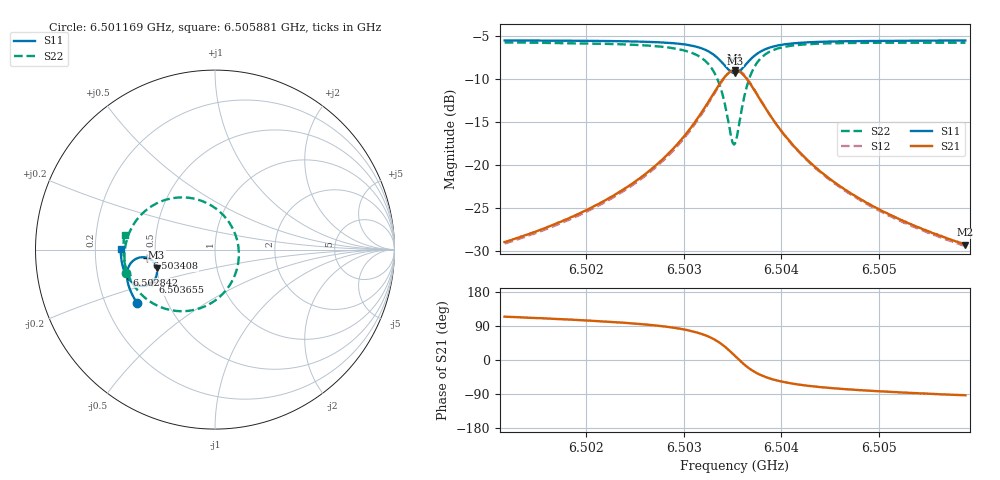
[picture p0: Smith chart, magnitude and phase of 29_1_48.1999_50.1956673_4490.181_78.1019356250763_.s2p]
#  HZ  S  RI  R  50.00
! Rohde & Schwarz Vector Network Analyzer
! Rohde-Schwarz,ZNB20-2Port,1311601062101988,3.16
! Created: UTC 3/20/2024, 11:37:16 AM
! freq[Hz]  re:S11  im:S11  re:S21  im:S21  re:S12  im:S12  re:S22  im:S22
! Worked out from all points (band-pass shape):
!   401 points, 6.501169 GHz to 6.505881 GHz, reference 50 ohm
!   highest |S21| = -9.01 dB at 6.503525 GHz (marker M1); lowest = -29.2 dB at 6.505881 GHz (marker M2)
!   |S21| within 3 dB of the highest: 6.50329 GHz to 6.50376 GHz (470.7 kHz wide, 0.00724 % of centre)
!   lowest |S11| = -9.4 dB at 6.503525 GHz (marker M3), VSWR 2.03, Z = 25 - j5.66 ohm
!   |S11| at or under -10 dB: nowhere
!   |S22| runs from -17.6 to -5.8 dB; largest |S21 - S12| = 0.012
!   S11 on the Smith chart (normalised r, x): 6.501169 GHz: 0.34, -0.27; 6.502842 GHz: 0.33, -0.12; 6.503408 GHz: 0.45, -0.05; 6.503655 GHz: 0.46, -0.20; 6.505881 GHz: 0.31, +0.00
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6.5011694e9  -0.4362 -0.2949  -0.0147 0.0327  -0.013 0.0326  -0.4952 -0.133
6.5019586e9  -0.4686 -0.2345  -0.0137 0.0515  -0.0112 0.0508  -0.5046 -0.045
6.5024181e9  -0.4837 -0.1918  -0.01 0.0736  -0.00685 0.0723  -0.4983 0.0251
6.5027479e9  -0.4904 -0.1531  -0.00026 0.1032  0.00349 0.1007  -0.4761 0.0973
6.5028421e9  -0.4906 -0.1396  0.00569 0.1161  0.00947 0.1128  -0.463 0.1241
6.5030424e9  -0.4849 -0.1049  0.0308 0.1528  0.0345 0.1479  -0.4108 0.1952
6.5031837e9  -0.4683 -0.0741  0.073 0.1882  0.0756 0.1817  -0.3295 0.2552
6.5033133e9  -0.4302 -0.0471  0.1538 0.2141  0.1541 0.2077  -0.1823 0.2909
6.5034076e9  -0.3816 -0.0453  0.2492 0.1957  0.2492 0.1912  -0.0169 0.2433
6.50349e9  -0.3369 -0.0766  0.3302 0.1167  0.3328 0.1125  0.1122 0.0872
6.5035254e9  -0.3257 -0.1001  0.3481 0.0656  0.352 0.0599  0.1327 -0.00939
6.5035489e9  -0.3227 -0.1171  0.3511 0.0292  0.3556 0.0223  0.1292 -0.0759
6.5035843e9  -0.3253 -0.1423  0.3426 -0.0229  0.3467 -0.0324  0.099 -0.1689
6.5036549e9  -0.3488 -0.181  0.293 -0.102  0.293 -0.1142  -0.0181 -0.2963
6.5037492e9  -0.3913 -0.2017  0.211 -0.1462  0.2058 -0.1569  -0.1853 -0.3432
6.5038198e9  -0.4184 -0.2015  0.1614 -0.1511  0.1544 -0.1594  -0.278 -0.3293
6.5039023e9  -0.4424 -0.1944  0.1194 -0.1446  0.1118 -0.1503  -0.3516 -0.296
6.5040672e9  -0.4723 -0.1731  0.0698 -0.1225  0.063 -0.1249  -0.4321 -0.2259
6.5043146e9  -0.4951 -0.1418  0.0357 -0.0944  0.0306 -0.0948  -0.481 -0.1457
6.504668e9  -0.511 -0.1034  0.0157 -0.0695  0.0122 -0.0688  -0.5042 -0.069
6.5051038e9  -0.5206 -0.0619  0.0055 -0.0514  0.00304 -0.0507  -0.5109 -0.00305
6.5058813e9  -0.5262 0.00487  -0.0018 -0.0345  -0.00336 -0.0337  -0.5038 0.0833
